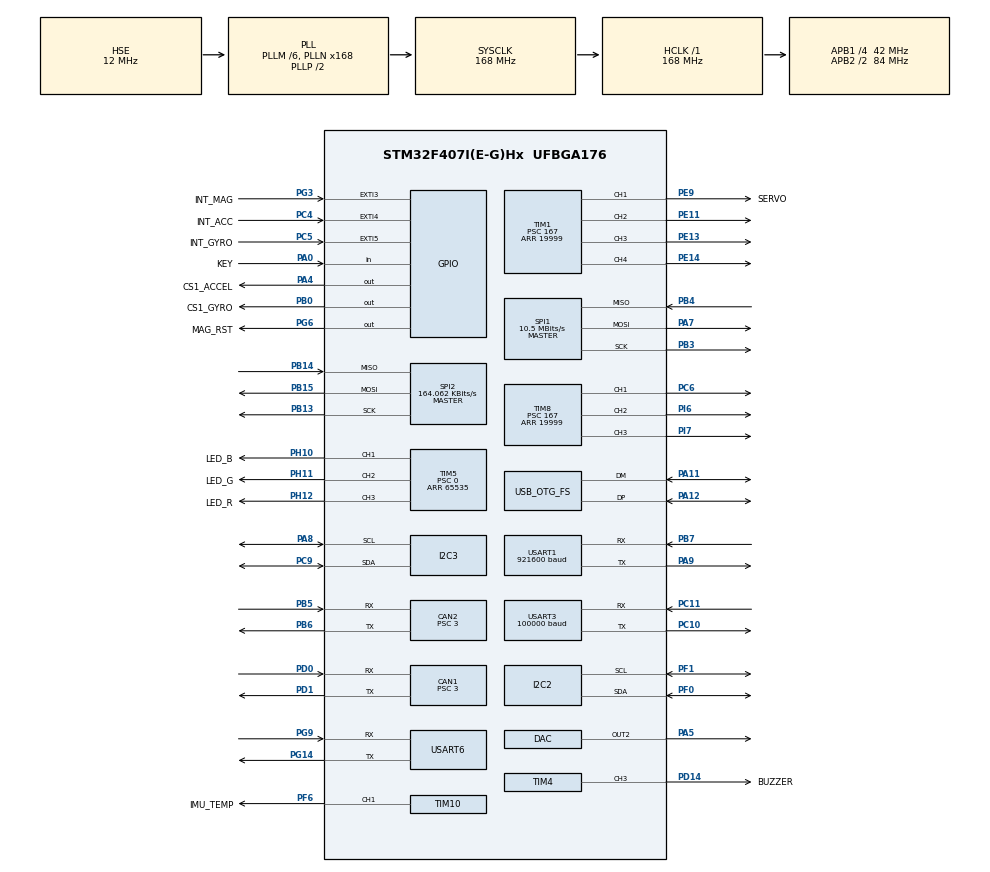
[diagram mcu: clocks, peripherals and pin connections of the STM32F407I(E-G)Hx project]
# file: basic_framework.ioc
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ADC1.Channel-0\#ChannelRegularConversion=ADC_CHANNEL_TEMPSENSOR
ADC1.ClockPrescaler=ADC_CLOCK_SYNC_PCLK_DIV6
ADC1.NbrOfConversionFlag=1
ADC1.Rank-0\#ChannelRegularConversion=1
ADC1.SamplingTime-0\#ChannelRegularConversion=ADC_SAMPLETIME_3CYCLES
ADC1.master=1
CAN1.BS1=CAN_BS1_10TQ
CAN1.BS2=CAN_BS2_3TQ
CAN1.CalculateBaudRate=1000000
CAN1.CalculateTimeQuantum=71.42857142857143
CAN1.NART=ENABLE
CAN1.Prescaler=3
CAN1.TXFP=ENABLE
CAN2.BS1=CAN_BS1_10TQ
CAN2.BS2=CAN_BS2_3TQ
CAN2.CalculateBaudRate=1000000
CAN2.CalculateTimeQuantum=71.42857142857143
CAN2.NART=ENABLE
CAN2.Prescaler=3
CAN2.TXFP=ENABLE
Dma.ADC1.8.Direction=DMA_PERIPH_TO_MEMORY
Dma.ADC1.8.FIFOMode=DMA_FIFOMODE_DISABLE
Dma.ADC1.8.Instance=DMA2_Stream4
Dma.ADC1.8.MemDataAlignment=DMA_MDATAALIGN_HALFWORD
Dma.ADC1.8.MemInc=DMA_MINC_ENABLE
Dma.ADC1.8.Mode=DMA_NORMAL
Dma.ADC1.8.PeriphDataAlignment=DMA_PDATAALIGN_HALFWORD
Dma.ADC1.8.PeriphInc=DMA_PINC_DISABLE
Dma.ADC1.8.Priority=DMA_PRIORITY_LOW
Dma.I2C2_RX.9.Direction=DMA_PERIPH_TO_MEMORY
Dma.I2C2_RX.9.FIFOMode=DMA_FIFOMODE_DISABLE
Dma.I2C2_RX.9.Instance=DMA1_Stream2
Dma.I2C2_RX.9.MemDataAlignment=DMA_MDATAALIGN_BYTE
Dma.I2C2_RX.9.MemInc=DMA_MINC_ENABLE
Dma.I2C2_RX.9.Mode=DMA_NORMAL
Dma.I2C2_RX.9.PeriphDataAlignment=DMA_PDATAALIGN_BYTE
Dma.I2C2_RX.9.PeriphInc=DMA_PINC_DISABLE
Dma.I2C2_RX.9.Priority=DMA_PRIORITY_LOW
Dma.I2C2_TX.10.Direction=DMA_MEMORY_TO_PERIPH
Dma.I2C2_TX.10.FIFOMode=DMA_FIFOMODE_DISABLE
Dma.I2C2_TX.10.Instance=DMA1_Stream7
Dma.I2C2_TX.10.MemDataAlignment=DMA_MDATAALIGN_BYTE
Dma.I2C2_TX.10.MemInc=DMA_MINC_ENABLE
Dma.I2C2_TX.10.Mode=DMA_NORMAL
Dma.I2C2_TX.10.PeriphDataAlignment=DMA_PDATAALIGN_BYTE
Dma.I2C2_TX.10.PeriphInc=DMA_PINC_DISABLE
Dma.I2C2_TX.10.Priority=DMA_PRIORITY_LOW
Dma.Request0=USART6_RX
Dma.Request1=USART6_TX
Dma.Request10=I2C2_TX
Dma.Request11=SPI1_TX
Dma.Request2=USART1_TX
Dma.Request3=USART1_RX
Dma.Request4=SPI1_RX
Dma.Request5=SPI2_RX
Dma.Request6=SPI2_TX
Dma.Request7=USART3_RX
Dma.Request8=ADC1
Dma.Request9=I2C2_RX
Dma.SPI1_RX.4.Direction=DMA_PERIPH_TO_MEMORY
Dma.SPI1_RX.4.FIFOMode=DMA_FIFOMODE_ENABLE
Dma.SPI1_RX.4.FIFOThreshold=DMA_FIFO_THRESHOLD_FULL
Dma.SPI1_RX.4.Instance=DMA2_Stream0
Dma.SPI1_RX.4.MemBurst=DMA_MBURST_SINGLE
Dma.SPI1_RX.4.MemDataAlignment=DMA_MDATAALIGN_BYTE
Dma.SPI1_RX.4.MemInc=DMA_MINC_ENABLE
Dma.SPI1_RX.4.Mode=DMA_NORMAL
Dma.SPI1_RX.4.PeriphBurst=DMA_PBURST_SINGLE
Dma.SPI1_RX.4.PeriphDataAlignment=DMA_PDATAALIGN_BYTE
Dma.SPI1_RX.4.PeriphInc=DMA_PINC_DISABLE
Dma.SPI1_RX.4.Priority=DMA_PRIORITY_LOW
Dma.SPI1_TX.11.Direction=DMA_MEMORY_TO_PERIPH
Dma.SPI1_TX.11.FIFOMode=DMA_FIFOMODE_DISABLE
Dma.SPI1_TX.11.Instance=DMA2_Stream3
Dma.SPI1_TX.11.MemDataAlignment=DMA_MDATAALIGN_BYTE
Dma.SPI1_TX.11.MemInc=DMA_MINC_ENABLE
Dma.SPI1_TX.11.Mode=DMA_NORMAL
Dma.SPI1_TX.11.PeriphDataAlignment=DMA_PDATAALIGN_BYTE
Dma.SPI1_TX.11.PeriphInc=DMA_PINC_DISABLE
Dma.SPI1_TX.11.Priority=DMA_PRIORITY_LOW
Dma.SPI2_RX.5.Direction=DMA_PERIPH_TO_MEMORY
Dma.SPI2_RX.5.FIFOMode=DMA_FIFOMODE_ENABLE
Dma.SPI2_RX.5.FIFOThreshold=DMA_FIFO_THRESHOLD_FULL
Dma.SPI2_RX.5.Instance=DMA1_Stream3
Dma.SPI2_RX.5.MemBurst=DMA_MBURST_SINGLE
Dma.SPI2_RX.5.MemDataAlignment=DMA_MDATAALIGN_BYTE
Dma.SPI2_RX.5.MemInc=DMA_MINC_ENABLE
Dma.SPI2_RX.5.Mode=DMA_NORMAL
Dma.SPI2_RX.5.PeriphBurst=DMA_PBURST_SINGLE
Dma.SPI2_RX.5.PeriphDataAlignment=DMA_PDATAALIGN_BYTE
Dma.SPI2_RX.5.PeriphInc=DMA_PINC_DISABLE
Dma.SPI2_RX.5.Priority=DMA_PRIORITY_LOW
Dma.SPI2_TX.6.Direction=DMA_MEMORY_TO_PERIPH
Dma.SPI2_TX.6.FIFOMode=DMA_FIFOMODE_ENABLE
Dma.SPI2_TX.6.FIFOThreshold=DMA_FIFO_THRESHOLD_FULL
Dma.SPI2_TX.6.Instance=DMA1_Stream4
Dma.SPI2_TX.6.MemBurst=DMA_MBURST_SINGLE
Dma.SPI2_TX.6.MemDataAlignment=DMA_MDATAALIGN_BYTE
Dma.SPI2_TX.6.MemInc=DMA_MINC_ENABLE
Dma.SPI2_TX.6.Mode=DMA_NORMAL
Dma.SPI2_TX.6.PeriphBurst=DMA_PBURST_SINGLE
Dma.SPI2_TX.6.PeriphDataAlignment=DMA_PDATAALIGN_BYTE
Dma.SPI2_TX.6.PeriphInc=DMA_PINC_DISABLE
Dma.SPI2_TX.6.Priority=DMA_PRIORITY_LOW
Dma.USART1_RX.3.Direction=DMA_PERIPH_TO_MEMORY
Dma.USART1_RX.3.FIFOMode=DMA_FIFOMODE_DISABLE
Dma.USART1_RX.3.Instance=DMA2_Stream5
Dma.USART1_RX.3.MemDataAlignment=DMA_MDATAALIGN_BYTE
Dma.USART1_RX.3.MemInc=DMA_MINC_ENABLE
Dma.USART1_RX.3.Mode=DMA_NORMAL
Dma.USART1_RX.3.PeriphDataAlignment=DMA_PDATAALIGN_BYTE
Dma.USART1_RX.3.PeriphInc=DMA_PINC_DISABLE
Dma.USART1_RX.3.Priority=DMA_PRIORITY_VERY_HIGH
Dma.USART1_TX.2.Direction=DMA_MEMORY_TO_PERIPH
Dma.USART1_TX.2.FIFOMode=DMA_FIFOMODE_DISABLE
Dma.USART1_TX.2.Instance=DMA2_Stream7
Dma.USART1_TX.2.MemDataAlignment=DMA_MDATAALIGN_BYTE
Dma.USART1_TX.2.MemInc=DMA_MINC_ENABLE
Dma.USART1_TX.2.Mode=DMA_NORMAL
Dma.USART1_TX.2.PeriphDataAlignment=DMA_PDATAALIGN_BYTE
Dma.USART1_TX.2.PeriphInc=DMA_PINC_DISABLE
Dma.USART1_TX.2.Priority=DMA_PRIORITY_VERY_HIGH
Dma.USART3_RX.7.Direction=DMA_PERIPH_TO_MEMORY
Dma.USART3_RX.7.FIFOMode=DMA_FIFOMODE_DISABLE
Dma.USART3_RX.7.Instance=DMA1_Stream1
Dma.USART3_RX.7.MemDataAlignment=DMA_MDATAALIGN_BYTE
Dma.USART3_RX.7.MemInc=DMA_MINC_ENABLE
Dma.USART3_RX.7.Mode=DMA_NORMAL
Dma.USART3_RX.7.PeriphDataAlignment=DMA_PDATAALIGN_BYTE
Dma.USART3_RX.7.PeriphInc=DMA_PINC_DISABLE
Dma.USART3_RX.7.Priority=DMA_PRIORITY_LOW
Dma.USART6_RX.0.Direction=DMA_PERIPH_TO_MEMORY
Dma.USART6_RX.0.FIFOMode=DMA_FIFOMODE_ENABLE
Dma.USART6_RX.0.FIFOThreshold=DMA_FIFO_THRESHOLD_FULL
Dma.USART6_RX.0.Instance=DMA2_Stream2
Dma.USART6_RX.0.MemBurst=DMA_MBURST_SINGLE
Dma.USART6_RX.0.MemDataAlignment=DMA_MDATAALIGN_BYTE
Dma.USART6_RX.0.MemInc=DMA_MINC_ENABLE
Dma.USART6_RX.0.Mode=DMA_NORMAL
Dma.USART6_RX.0.PeriphBurst=DMA_PBURST_SINGLE
Dma.USART6_RX.0.PeriphDataAlignment=DMA_PDATAALIGN_BYTE
Dma.USART6_RX.0.PeriphInc=DMA_PINC_DISABLE
Dma.USART6_RX.0.Priority=DMA_PRIORITY_HIGH
Dma.USART6_TX.1.Direction=DMA_MEMORY_TO_PERIPH
Dma.USART6_TX.1.FIFOMode=DMA_FIFOMODE_ENABLE
Dma.USART6_TX.1.FIFOThreshold=DMA_FIFO_THRESHOLD_FULL
Dma.USART6_TX.1.Instance=DMA2_Stream6
Dma.USART6_TX.1.MemBurst=DMA_MBURST_SINGLE
Dma.USART6_TX.1.MemDataAlignment=DMA_MDATAALIGN_BYTE
Dma.USART6_TX.1.MemInc=DMA_MINC_ENABLE
Dma.USART6_TX.1.Mode=DMA_NORMAL
Dma.USART6_TX.1.PeriphBurst=DMA_PBURST_SINGLE
Dma.USART6_TX.1.PeriphDataAlignment=DMA_PDATAALIGN_BYTE
Dma.USART6_TX.1.PeriphInc=DMA_PINC_DISABLE
Dma.USART6_TX.1.Priority=DMA_PRIORITY_HIGH
FREERTOS.INCLUDE_vTaskDelayUntil=1
FREERTOS.Tasks01=defaultTask,24,128,StartDefaultTask,Default,NULL,Dynamic,NULL,NULL;Test,40,2048,TestTask,As weak,NULL,Dynamic,NULL,NULL;Buzzer,24,128,BuzzerTask,As weak,NULL,Dynamic,NULL,NULL;instask,55,1024,StartINSTASK,As weak,NULL,Dynamic,NULL,NULL;CMD,47,128,_RobotCMDTask,As weak,NULL,Dynamic,NULL,NULL;Gimbal,40,128,_GimbalTask,As weak,NULL,Dynamic,NULL,NULL;Chassis,40,128,_ChassisTask,As weak,NULL,Dynamic,NULL,NULL;Shoot,40,128,_ShootTask,As weak,NULL,Dynamic,NULL,NULL;motorControl,39,128,motorControlTask,As weak,NULL,Dynamic,NULL,NULL;VisionTask,55,128,_VisionTask,As weak,NULL,Dynamic,NULL,NULL;UIDraw,40,512,_My_UIGraphRefresh,As weak,NULL,Dynamic,NULL,NULL
FREERTOS.configENABLE_FPU=1
FREERTOS.configMAX_TASK_NAME_LEN=32
FREERTOS.configTOTAL_HEAP_SIZE=20000
FREERTOS.configUSE_COUNTING_SEMAPHORES=1
FREERTOS.configUSE_NEWLIB_REENTRANT=1
FREERTOS.configUSE_POSIX_ERRNO=0
FREERTOS.configUSE_TIMERS=0
I2C2.I2C_Mode=I2C_Fast
I2C3.I2C_Mode=I2C_Fast
Mcu.Family=STM32F4
Mcu.Name=STM32F407I(E-G)Hx
Mcu.Package=UFBGA176
NVIC.CAN1_RX0_IRQn=true\:5\:0\:true\:false\:true\:true\:true\:true\:true
NVIC.CAN1_RX1_IRQn=true\:5\:0\:false\:false\:true\:true\:true\:true\:true
NVIC.CAN2_RX0_IRQn=true\:5\:0\:true\:false\:true\:true\:true\:true\:true
NVIC.CAN2_RX1_IRQn=true\:5\:0\:false\:false\:true\:true\:true\:true\:true
NVIC.DMA1_Stream1_IRQn=true\:5\:0\:false\:false\:true\:true\:false\:true\:true
NVIC.DMA1_Stream2_IRQn=true\:5\:0\:false\:false\:true\:true\:false\:true\:true
NVIC.DMA1_Stream3_IRQn=true\:5\:0\:false\:false\:true\:true\:false\:true\:true
NVIC.DMA1_Stream4_IRQn=true\:5\:0\:false\:false\:true\:true\:false\:true\:true
NVIC.DMA1_Stream7_IRQn=true\:5\:0\:false\:false\:true\:true\:false\:true\:true
NVIC.DMA2_Stream0_IRQn=true\:5\:0\:false\:false\:true\:true\:false\:true\:true
NVIC.DMA2_Stream2_IRQn=true\:5\:0\:false\:false\:true\:true\:false\:true\:true
NVIC.DMA2_Stream3_IRQn=true\:5\:0\:false\:false\:true\:true\:false\:true\:true
NVIC.DMA2_Stream4_IRQn=true\:5\:0\:false\:false\:true\:true\:false\:true\:true
NVIC.DMA2_Stream5_IRQn=true\:5\:0\:false\:false\:true\:true\:false\:true\:true
NVIC.DMA2_Stream6_IRQn=true\:5\:0\:true\:false\:true\:true\:false\:true\:true
NVIC.DMA2_Stream7_IRQn=true\:5\:0\:true\:false\:true\:true\:false\:true\:true
NVIC.EXTI3_IRQn=true\:5\:0\:true\:false\:true\:true\:true\:true\:true
NVIC.EXTI4_IRQn=true\:5\:0\:false\:false\:true\:true\:true\:true\:true
NVIC.EXTI9_5_IRQn=true\:5\:0\:false\:false\:true\:true\:true\:true\:true
NVIC.FLASH_IRQn=true\:6\:0\:true\:false\:true\:true\:true\:true\:true
NVIC.I2C2_ER_IRQn=true\:5\:0\:false\:false\:true\:true\:true\:true\:true
NVIC.I2C2_EV_IRQn=true\:5\:0\:false\:false\:true\:true\:true\:true\:true
NVIC.I2C3_ER_IRQn=true\:5\:0\:false\:false\:true\:true\:true\:true\:true
NVIC.I2C3_EV_IRQn=true\:5\:0\:false\:false\:true\:true\:true\:true\:true
NVIC.OTG_FS_IRQn=true\:5\:0\:false\:false\:true\:true\:false\:true\:true
NVIC.PriorityGroup=NVIC_PRIORITYGROUP_4
NVIC.SPI1_IRQn=true\:5\:0\:false\:false\:true\:true\:true\:true\:true
NVIC.SPI2_IRQn=true\:5\:0\:false\:false\:true\:true\:true\:true\:true
NVIC.TIM6_DAC_IRQn=true\:5\:0\:false\:false\:true\:true\:true\:true\:true
NVIC.TIM8_TRG_COM_TIM14_IRQn=true\:15\:0\:false\:false\:true\:false\:false\:true\:true
NVIC.TimeBase=TIM8_TRG_COM_TIM14_IRQn
NVIC.TimeBaseIP=TIM14
NVIC.USART1_IRQn=true\:5\:0\:false\:false\:true\:true\:true\:true\:true
NVIC.USART3_IRQn=true\:5\:0\:false\:false\:true\:true\:true\:true\:true
NVIC.USART6_IRQn=true\:5\:0\:false\:false\:true\:true\:true\:true\:true
PA0-WKUP.GPIO_Label=KEY
PA0-WKUP.GPIO_PuPd=GPIO_PULLUP
PA0-WKUP.Signal=GPIO_Input
PA10.Signal=USB_OTG_FS_ID
PA11.Mode=Device_Only
PA11.Signal=USB_OTG_FS_DM
PA12.Mode=Device_Only
PA12.Signal=USB_OTG_FS_DP
PA13.Mode=Serial_Wire
PA13.Signal=SYS_JTMS-SWDIO
PA14.Mode=Serial_Wire
PA14.Signal=SYS_JTCK-SWCLK
PA4.GPIO_Label=CS1_ACCEL
PA4.GPIO_PuPd=GPIO_PULLUP
PA4.GPIO_Speed=GPIO_SPEED_FREQ_HIGH
PA4.PinState=GPIO_PIN_SET
PA4.Signal=GPIO_Output
PA5.Signal=COMP_DAC2_group
PA7.GPIO_PuPd=GPIO_PULLUP
PA7.Mode=Full_Duplex_Master
PA7.Signal=SPI1_MOSI
PA8.Mode=I2C
PA8.Signal=I2C3_SCL
PA9.Mode=Asynchronous
PA9.Signal=USART1_TX
PB0.GPIO_Label=CS1_GYRO
PB0.GPIO_PuPd=GPIO_PULLUP
PB0.GPIO_Speed=GPIO_SPEED_FREQ_HIGH
PB0.PinState=GPIO_PIN_SET
PB0.Signal=GPIO_Output
PB13.Mode=Full_Duplex_Master
PB13.Signal=SPI2_SCK
PB14.Mode=Full_Duplex_Master
PB14.Signal=SPI2_MISO
PB15.Mode=Full_Duplex_Master
PB15.Signal=SPI2_MOSI
PB3.GPIO_PuPd=GPIO_PULLUP
PB3.Mode=Full_Duplex_Master
PB3.Signal=SPI1_SCK
PB4.GPIO_PuPd=GPIO_PULLUP
PB4.Mode=Full_Duplex_Master
PB4.Signal=SPI1_MISO
PB5.Mode=CAN_Activate
PB5.Signal=CAN2_RX
PB6.Mode=CAN_Activate
PB6.Signal=CAN2_TX
PB7.Mode=Asynchronous
PB7.Signal=USART1_RX
PC10.Mode=Asynchronous
PC10.Signal=USART3_TX
PC11.Mode=Asynchronous
PC11.Signal=USART3_RX
PC4.GPIO_Label=INT_ACC
PC4.GPIO_ModeDefaultEXTI=GPIO_MODE_IT_FALLING
PC4.Signal=GPXTI4
PC5.GPIO_Label=INT_GYRO
PC5.GPIO_ModeDefaultEXTI=GPIO_MODE_IT_FALLING
PC5.Signal=GPXTI5
PC6.Signal=S_TIM8_CH1
PC9.Mode=I2C
PC9.Signal=I2C3_SDA
PD0.Mode=CAN_Activate
PD0.Signal=CAN1_RX
PD1.Mode=CAN_Activate
PD1.Signal=CAN1_TX
PD14.GPIO_Label=BUZZER
PD14.GPIO_PuPd=GPIO_PULLUP
PD14.GPIO_Speed=GPIO_SPEED_FREQ_VERY_HIGH
PD14.Signal=S_TIM4_CH3
PE11.Signal=S_TIM1_CH2
PE13.Signal=S_TIM1_CH3
PE14.Signal=S_TIM1_CH4
PE9.GPIO_Label=SERVO
PE9.Signal=S_TIM1_CH1
PF0.Mode=I2C
PF0.Signal=I2C2_SDA
PF1.Mode=I2C
PF1.Signal=I2C2_SCL
PF6.GPIO_Label=IMU_TEMP
PF6.GPIO_PuPd=GPIO_PULLUP
PF6.GPIO_Speed=GPIO_SPEED_FREQ_HIGH
PF6.Signal=S_TIM10_CH1
PG14.Mode=Asynchronous
PG14.Signal=USART6_TX
PG3.GPIO_Label=INT_MAG
PG3.GPIO_ModeDefaultEXTI=GPIO_MODE_IT_FALLING
PG3.GPIO_PuPd=GPIO_PULLUP
PG3.Signal=GPXTI3
PG6.GPIO_Label=MAG_RST
PG6.Signal=GPIO_Output
PG9.Mode=Asynchronous
PG9.Signal=USART6_RX
PH0-OSC_IN.Mode=HSE-External-Oscillator
PH0-OSC_IN.Signal=RCC_OSC_IN
PH1-OSC_OUT.Mode=HSE-External-Oscillator
PH1-OSC_OUT.Signal=RCC_OSC_OUT
PH10.GPIO_Label=LED_B
PH10.GPIO_PuPd=GPIO_PULLUP
PH10.GPIO_Speed=GPIO_SPEED_FREQ_HIGH
PH10.Signal=S_TIM5_CH1
PH11.GPIO_Label=LED_G
PH11.GPIO_PuPd=GPIO_PULLUP
PH11.GPIO_Speed=GPIO_SPEED_FREQ_HIGH
PH11.Signal=S_TIM5_CH2
PH12.GPIO_Label=LED_R
PH12.GPIO_PuPd=GPIO_PULLUP
PH12.GPIO_Speed=GPIO_SPEED_FREQ_HIGH
PH12.Signal=S_TIM5_CH3
PI6.Signal=S_TIM8_CH2
PI7.Signal=S_TIM8_CH3
ProjectManager.HeapSize=0x5000
ProjectManager.StackSize=0x5000
ProjectManager.TargetToolchain=STM32CubeIDE
RCC.48MHZClocksFreq_Value=48000000
RCC.AHBFreq_Value=168000000
RCC.APB1CLKDivider=RCC_HCLK_DIV4
RCC.APB1Freq_Value=42000000
RCC.APB1TimFreq_Value=84000000
RCC.APB2CLKDivider=RCC_HCLK_DIV2
RCC.APB2Freq_Value=84000000
RCC.APB2TimFreq_Value=168000000
RCC.CortexFreq_Value=168000000
RCC.HCLKFreq_Value=168000000
RCC.HSE_VALUE=12000000
RCC.HSI_VALUE=16000000
RCC.LSE_VALUE=32768
RCC.PLLM=6
RCC.PLLN=168
RCC.PLLQ=7
RCC.RCC_RTC_Clock_SourceVirtual=RCC_RTCCLKSOURCE_HSE_DIV30
RCC.RCC_RTC_Clock_Source_FROM_HSE=RCC_RTCCLKSOURCE_HSE_DIV30
RCC.SYSCLKFreq_VALUE=168000000
RCC.SYSCLKSource=RCC_SYSCLKSOURCE_PLLCLK
RCC.VCOOutputFreq_Value=336000000
RTC.AsynchPrediv=124
RTC.SynchPrediv=3199
SH.COMP_DAC2_group.0=DAC_OUT2,DAC_OUT2
SH.S_TIM10_CH1.0=TIM10_CH1,PWM Generation1 CH1
SH.S_TIM1_CH1.0=TIM1_CH1,PWM Generation1 CH1
SH.S_TIM1_CH2.0=TIM1_CH2,PWM Generation2 CH2
SH.S_TIM1_CH3.0=TIM1_CH3,PWM Generation3 CH3
SH.S_TIM1_CH4.0=TIM1_CH4,PWM Generation4 CH4
SH.S_TIM4_CH3.0=TIM4_CH3,PWM Generation3 CH3
SH.S_TIM5_CH1.0=TIM5_CH1,PWM Generation1 CH1
SH.S_TIM5_CH2.0=TIM5_CH2,PWM Generation2 CH2
SH.S_TIM5_CH3.0=TIM5_CH3,PWM Generation3 CH3
SH.S_TIM8_CH1.0=TIM8_CH1,Output Compare1 CH1
SH.S_TIM8_CH2.0=TIM8_CH2,Output Compare2 CH2
SH.S_TIM8_CH3.0=TIM8_CH3,Output Compare3 CH3
SPI1.BaudRatePrescaler=SPI_BAUDRATEPRESCALER_8
SPI1.CLKPhase=SPI_PHASE_2EDGE
SPI1.CLKPolarity=SPI_POLARITY_HIGH
SPI1.CalculateBaudRate=10.5 MBits/s
SPI1.Direction=SPI_DIRECTION_2LINES
SPI1.Mode=SPI_MODE_MASTER
SPI1.VirtualType=VM_MASTER
SPI2.BaudRatePrescaler=SPI_BAUDRATEPRESCALER_256
SPI2.CLKPhase=SPI_PHASE_2EDGE
SPI2.CLKPolarity=SPI_POLARITY_HIGH
SPI2.CalculateBaudRate=164.062 KBits/s
SPI2.Direction=SPI_DIRECTION_2LINES
SPI2.Mode=SPI_MODE_MASTER
SPI2.VirtualType=VM_MASTER
STMicroelectronics.X-CUBE-ALGOBUILD.1.3.0.LibraryCcDSPOoLibraryJjDSPOoLibrary=true
TIM1.Channel-PWM\ Generation1\ CH1=TIM_CHANNEL_1
TIM1.Channel-PWM\ Generation2\ CH2=TIM_CHANNEL_2
TIM1.Channel-PWM\ Generation3\ CH3=TIM_CHANNEL_3
TIM1.Channel-PWM\ Generation4\ CH4=TIM_CHANNEL_4
TIM1.Period=19999
TIM1.Prescaler=167
TIM10.Channel=TIM_CHANNEL_1
TIM10.Period=5000-1
TIM10.Prescaler=167
TIM4.Channel-PWM\ Generation3\ CH3=TIM_CHANNEL_3
TIM4.Period=65535
TIM4.Prescaler=167
TIM5.Channel-PWM\ Generation1\ CH1=TIM_CHANNEL_1
TIM5.Channel-PWM\ Generation2\ CH2=TIM_CHANNEL_2
TIM5.Channel-PWM\ Generation3\ CH3=TIM_CHANNEL_3
TIM5.Period=65535
TIM5.Prescaler=0
TIM6.Period=1000-1
TIM6.Prescaler=84-1
TIM8.Channel-Output\ Compare1\ CH1=TIM_CHANNEL_1
TIM8.Channel-Output\ Compare2\ CH2=TIM_CHANNEL_2
TIM8.Channel-Output\ Compare3\ CH3=TIM_CHANNEL_3
TIM8.Period=19999
TIM8.Prescaler=167
USART1.BaudRate=921600
USART1.VirtualMode=VM_ASYNC
USART3.BaudRate=100000
USART3.Parity=PARITY_EVEN
USART3.VirtualMode=VM_ASYNC
USART3.WordLength=WORDLENGTH_9B
USART6.VirtualMode=VM_ASYNC
USB_DEVICE.CLASS_NAME_FS=CDC
USB_DEVICE.MANUFACTURER_STRING-CDC_FS=Alliance_EC
USB_DEVICE.PID_CDC_FS=202
USB_DEVICE.PRODUCT_STRING_CDC_FS=Vision Comm port
USB_DEVICE.VirtualMode-CDC_FS=Cdc
USB_DEVICE.VirtualModeFS=Cdc_FS
USB_OTG_FS.VirtualMode=Device_Only
VP_ADC1_TempSens_Input.Mode=IN-TempSens
VP_ADC1_Vref_Input.Mode=IN-Vrefint
VP_CRC_VS_CRC.Mode=CRC_Activate
VP_FREERTOS_VS_CMSIS_V2.Mode=CMSIS_V2
VP_RNG_VS_RNG.Mode=RNG_Activate
VP_RTC_VS_RTC_Activate.Mode=RTC_Enabled
VP_STMicroelectronics.X-CUBE-ALGOBUILD_VS_DSPOoLibraryJjLibrary_1.3.0_1.3.0.Mode=DSPOoLibraryJjLibrary
VP_SYS_VS_tim14.Mode=TIM14
VP_TIM10_VS_ClockSourceINT.Mode=Enable_Timer
VP_TIM1_VS_ClockSourceINT.Mode=Internal
VP_TIM4_VS_ClockSourceINT.Mode=Internal
VP_TIM5_VS_ClockSourceINT.Mode=Internal
VP_TIM6_VS_ClockSourceINT.Mode=Enable_Timer
VP_TIM8_VS_ClockSourceINT.Mode=Internal
VP_USB_DEVICE_VS_USB_DEVICE_CDC_FS.Mode=CDC_FS
board=custom

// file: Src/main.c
/* USER CODE BEGIN Header */
/**
 ******************************************************************************
 * @file           : main.c
 * @brief          : Main program body
 ******************************************************************************
 * @attention
 *
 * Copyright (c) 2023 STMicroelectronics.
 * All rights reserved.
 *
 * This software is licensed under terms that can be found in the LICENSE file
 * in the root directory of this software component.
 * If no LICENSE file comes with this software, it is provided AS-IS.
 *
 ******************************************************************************
 */
/* USER CODE END Header */
#include "main.h"
#include "cmsis_os.h"
#include "adc.h"
#include "can.h"
#include "crc.h"
#include "dac.h"
#include "dma.h"
#include "i2c.h"
#include "rng.h"
#include "rtc.h"
#include "spi.h"
#include "tim.h"
#include "usart.h"
#include "usb_device.h"
#include "gpio.h"

/* USER CODE BEGIN Includes */
#include "robot.h"
#include "bsp_log.h"
#include "tool.h"
#include "shoot.h"
/* USER CODE END Includes */

void SystemClock_Config(void);
void MX_FREERTOS_Init(void);

int main(void)
{

  /* MCU Configuration--------------------------------------------------------*/

  /* Reset of all peripherals, Initializes the Flash interface and the Systick. */
  HAL_Init();

  /* Configure the system clock */
  SystemClock_Config();

  /* Initialize all configured peripherals */
  MX_GPIO_Init();
  MX_DMA_Init();
  MX_ADC1_Init();
  MX_CAN1_Init();
  MX_CAN2_Init();
  MX_SPI1_Init();
  MX_TIM4_Init();
  MX_TIM5_Init();
  MX_USART3_UART_Init();
  MX_RNG_Init();
  MX_RTC_Init();
  MX_TIM1_Init();
  MX_TIM10_Init();
  MX_USART1_UART_Init();
  MX_USART6_UART_Init();
  MX_TIM8_Init();
  MX_I2C2_Init();
  MX_I2C3_Init();
  MX_SPI2_Init();
  MX_CRC_Init();
  MX_DAC_Init();
  MX_TIM6_Init();
  /* USER CODE BEGIN 2 */
    HAL_TIM_Base_Start_IT(&htim6);
    RobotInit(); // 唯一的初始化函数
    LOGINFO("[main] SystemInit() and RobotInit() done");
  /* USER CODE END 2 */

  /* Init scheduler */
  osKernelInitialize();  /* Call init function for freertos objects (in freertos.c) */
  MX_FREERTOS_Init();

  /* Start scheduler */
  osKernelStart();

  /* We should never get here as control is now taken by the scheduler */
  /* Infinite loop */
    while (1) {

    }
}

void SystemClock_Config(void)
{
  RCC_OscInitTypeDef RCC_OscInitStruct = {0};
  RCC_ClkInitTypeDef RCC_ClkInitStruct = {0};

  /** Configure the main internal regulator output voltage
  */
  __HAL_RCC_PWR_CLK_ENABLE();
  __HAL_PWR_VOLTAGESCALING_CONFIG(PWR_REGULATOR_VOLTAGE_SCALE1);

  /** Initializes the RCC Oscillators according to the specified parameters
  * in the RCC_OscInitTypeDef structure.
  */
  RCC_OscInitStruct.OscillatorType = RCC_OSCILLATORTYPE_HSE;
  RCC_OscInitStruct.HSEState = RCC_HSE_ON;
  RCC_OscInitStruct.PLL.PLLState = RCC_PLL_ON;
  RCC_OscInitStruct.PLL.PLLSource = RCC_PLLSOURCE_HSE;
  RCC_OscInitStruct.PLL.PLLM = 6;
  RCC_OscInitStruct.PLL.PLLN = 168;
  RCC_OscInitStruct.PLL.PLLP = RCC_PLLP_DIV2;
  RCC_OscInitStruct.PLL.PLLQ = 7;
  if (HAL_RCC_OscConfig(&RCC_OscInitStruct) != HAL_OK)
  {
    Error_Handler();
  }

  /** Initializes the CPU, AHB and APB buses clocks
  */
  RCC_ClkInitStruct.ClockType = RCC_CLOCKTYPE_HCLK|RCC_CLOCKTYPE_SYSCLK
                              |RCC_CLOCKTYPE_PCLK1|RCC_CLOCKTYPE_PCLK2;
  RCC_ClkInitStruct.SYSCLKSource = RCC_SYSCLKSOURCE_PLLCLK;
  RCC_ClkInitStruct.AHBCLKDivider = RCC_SYSCLK_DIV1;
  RCC_ClkInitStruct.APB1CLKDivider = RCC_HCLK_DIV4;
  RCC_ClkInitStruct.APB2CLKDivider = RCC_HCLK_DIV2;

  if (HAL_RCC_ClockConfig(&RCC_ClkInitStruct, FLASH_LATENCY_5) != HAL_OK)
  {
    Error_Handler();
  }
}

void HAL_TIM_PeriodElapsedCallback(TIM_HandleTypeDef *htim)
{
  if (htim->Instance == TIM14) {
    HAL_IncTick();
  }
  /* USER CODE BEGIN Callback 1 */
    if (htim->Instance == TIM6) {
        /*-------------------------------------------热量控制部分---------------------------------------------*/
        local_heat -= (referee_info.GameRobotState.shooter_id1_17mm_cooling_rate / 1000.0f); // 1000Hz冷却
        if (local_heat < 0) {
            local_heat = 0;
        }
        if (referee_info.PowerHeatData.shooter_17mm_heat0 - referee_info.GameRobotState.shooter_id1_17mm_cooling_limit >= 15) // 裁判系统判断已经超了热量
        {
            local_heat = referee_info.PowerHeatData.shooter_17mm_heat0;
        }
        Shoot_Fric_data_process();
    }
  /* USER CODE END Callback 1 */
}

void Error_Handler(void)
{
    __disable_irq();
    while (1) {
    }
}

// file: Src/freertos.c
/* USER CODE BEGIN Header */
/**
 ******************************************************************************
 * File Name          : freertos.c
 * Description        : Code for freertos applications
 ******************************************************************************
 * @attention
 *
 * Copyright (c) 2023 STMicroelectronics.
 * All rights reserved.
 *
 * This software is licensed under terms that can be found in the LICENSE file
 * in the root directory of this software component.
 * If no LICENSE file comes with this software, it is provided AS-IS.
 *
 ******************************************************************************
 */
/* USER CODE END Header */

#include "FreeRTOS.h"
#include "task.h"
#include "main.h"
#include "cmsis_os.h"

/* Definitions for defaultTask */
osThreadId_t defaultTaskHandle;
const osThreadAttr_t defaultTask_attributes = {
  .name = "defaultTask",
  .stack_size = 128 * 4,
  .priority = (osPriority_t) osPriorityNormal,
};
/* Definitions for Test */
osThreadId_t TestHandle;
const osThreadAttr_t Test_attributes = {
  .name = "Test",
  .stack_size = 2048 * 4,
  .priority = (osPriority_t) osPriorityHigh,
};
/* Definitions for Buzzer */
osThreadId_t BuzzerHandle;
const osThreadAttr_t Buzzer_attributes = {
  .name = "Buzzer",
  .stack_size = 128 * 4,
  .priority = (osPriority_t) osPriorityNormal,
};
/* Definitions for instask */
osThreadId_t instaskHandle;
const osThreadAttr_t instask_attributes = {
  .name = "instask",
  .stack_size = 1024 * 4,
  .priority = (osPriority_t) osPriorityRealtime7,
};
/* Definitions for CMD */
osThreadId_t CMDHandle;
const osThreadAttr_t CMD_attributes = {
  .name = "CMD",
  .stack_size = 128 * 4,
  .priority = (osPriority_t) osPriorityHigh7,
};
/* Definitions for Gimbal */
osThreadId_t GimbalHandle;
const osThreadAttr_t Gimbal_attributes = {
  .name = "Gimbal",
  .stack_size = 128 * 4,
  .priority = (osPriority_t) osPriorityHigh,
};
/* Definitions for Chassis */
osThreadId_t ChassisHandle;
const osThreadAttr_t Chassis_attributes = {
  .name = "Chassis",
  .stack_size = 128 * 4,
  .priority = (osPriority_t) osPriorityHigh,
};
/* Definitions for Shoot */
osThreadId_t ShootHandle;
const osThreadAttr_t Shoot_attributes = {
  .name = "Shoot",
  .stack_size = 128 * 4,
  .priority = (osPriority_t) osPriorityHigh,
};
/* Definitions for motorControl */
osThreadId_t motorControlHandle;
const osThreadAttr_t motorControl_attributes = {
  .name = "motorControl",
  .stack_size = 128 * 4,
  .priority = (osPriority_t) osPriorityAboveNormal7,
};
/* Definitions for VisionTask */
osThreadId_t VisionTaskHandle;
const osThreadAttr_t VisionTask_attributes = {
  .name = "VisionTask",
  .stack_size = 128 * 4,
  .priority = (osPriority_t) osPriorityRealtime7,
};
/* Definitions for UIDraw */
osThreadId_t UIDrawHandle;
const osThreadAttr_t UIDraw_attributes = {
  .name = "UIDraw",
  .stack_size = 512 * 4,
  .priority = (osPriority_t) osPriorityHigh,
};

void StartDefaultTask(void *argument);
void TestTask(void *argument);
void BuzzerTask(void *argument);
void StartINSTASK(void *argument);
void _RobotCMDTask(void *argument);
void _GimbalTask(void *argument);
void _ChassisTask(void *argument);
void _ShootTask(void *argument);
void motorControlTask(void *argument);
void _VisionTask(void *argument);
void _My_UIGraphRefresh(void *argument);

extern void MX_USB_DEVICE_Init(void);
void MX_FREERTOS_Init(void); /* (MISRA C 2004 rule 8.1) */

void MX_FREERTOS_Init(void) {

  /* Create the thread(s) */
  /* creation of defaultTask */
  defaultTaskHandle = osThreadNew(StartDefaultTask, NULL, &defaultTask_attributes);

  /* creation of Test */
  TestHandle = osThreadNew(TestTask, NULL, &Test_attributes);

  /* creation of Buzzer */
  BuzzerHandle = osThreadNew(BuzzerTask, NULL, &Buzzer_attributes);

  /* creation of instask */
  instaskHandle = osThreadNew(StartINSTASK, NULL, &instask_attributes);

  /* creation of CMD */
  CMDHandle = osThreadNew(_RobotCMDTask, NULL, &CMD_attributes);

  /* creation of Gimbal */
  GimbalHandle = osThreadNew(_GimbalTask, NULL, &Gimbal_attributes);

  /* creation of Chassis */
  ChassisHandle = osThreadNew(_ChassisTask, NULL, &Chassis_attributes);

  /* creation of Shoot */
  ShootHandle = osThreadNew(_ShootTask, NULL, &Shoot_attributes);

  /* creation of motorControl */
  motorControlHandle = osThreadNew(motorControlTask, NULL, &motorControl_attributes);

  /* creation of VisionTask */
  VisionTaskHandle = osThreadNew(_VisionTask, NULL, &VisionTask_attributes);

  /* creation of UIDraw */
  UIDrawHandle = osThreadNew(_My_UIGraphRefresh, NULL, &UIDraw_attributes);

}

void StartDefaultTask(void *argument)
{
  /* init code for USB_DEVICE */
  MX_USB_DEVICE_Init();
  /* USER CODE BEGIN StartDefaultTask */
    UNUSED(argument);
    osThreadTerminate(defaultTaskHandle); // 避免空置和切换占用cpu
  /* USER CODE END StartDefaultTask */
}

__weak void TestTask(void *argument)
{
  /* USER CODE BEGIN TestTask */
  UNUSED(argument);
    /* Infinite loop */
    for (;;) {
        osDelay(1);
    }
  /* USER CODE END TestTask */
}

__weak void BuzzerTask(void *argument)
{
  /* USER CODE BEGIN BuzzerTask */
  UNUSED(argument);
  /* Infinite loop */
  for(;;)
  {
    osDelay(1);
  }
  /* USER CODE END BuzzerTask */
}

__weak void StartINSTASK(void *argument)
{
  for(;;)
  {
    osDelay(1);
  }
}

__weak void _RobotCMDTask(void *argument)
{
  for(;;)
  {
    osDelay(1);
  }
}

__weak void _GimbalTask(void *argument)
{
  for(;;)
  {
    osDelay(1);
  }
}

__weak void _ChassisTask(void *argument)
{
  for(;;)
  {
    osDelay(1);
  }
}

__weak void _ShootTask(void *argument)
{
  for(;;)
  {
    osDelay(1);
  }
}

__weak void motorControlTask(void *argument)
{
  for(;;)
  {
    osDelay(1);
  }
}

__weak void _VisionTask(void *argument)
{
  for(;;)
  {
    osDelay(1);
  }
}

__weak void _My_UIGraphRefresh(void *argument)
{
  for(;;)
  {
    osDelay(1);
  }
}
